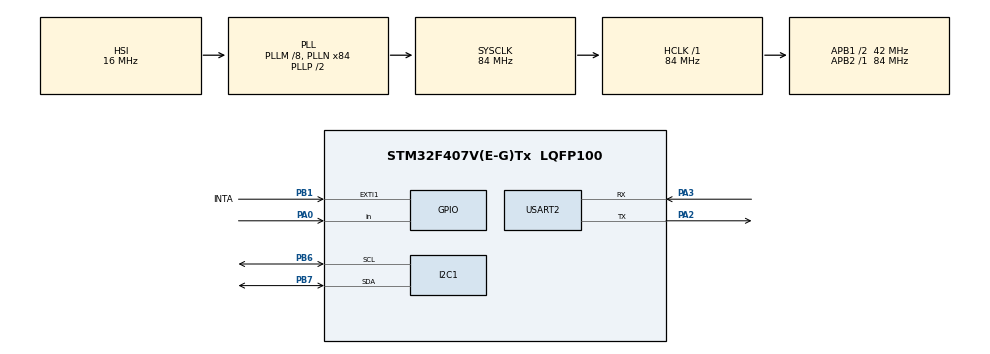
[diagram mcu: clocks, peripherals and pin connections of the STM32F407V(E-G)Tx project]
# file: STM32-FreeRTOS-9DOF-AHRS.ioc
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Dma.I2C1_RX.0.Direction=DMA_PERIPH_TO_MEMORY
Dma.I2C1_RX.0.FIFOMode=DMA_FIFOMODE_DISABLE
Dma.I2C1_RX.0.Instance=DMA1_Stream0
Dma.I2C1_RX.0.MemDataAlignment=DMA_MDATAALIGN_BYTE
Dma.I2C1_RX.0.MemInc=DMA_MINC_ENABLE
Dma.I2C1_RX.0.Mode=DMA_NORMAL
Dma.I2C1_RX.0.PeriphDataAlignment=DMA_PDATAALIGN_BYTE
Dma.I2C1_RX.0.PeriphInc=DMA_PINC_DISABLE
Dma.I2C1_RX.0.Priority=DMA_PRIORITY_LOW
Dma.Request0=I2C1_RX
Dma.Request1=USART2_TX
Dma.USART2_TX.1.Direction=DMA_MEMORY_TO_PERIPH
Dma.USART2_TX.1.FIFOMode=DMA_FIFOMODE_DISABLE
Dma.USART2_TX.1.Instance=DMA1_Stream6
Dma.USART2_TX.1.MemDataAlignment=DMA_MDATAALIGN_BYTE
Dma.USART2_TX.1.MemInc=DMA_MINC_ENABLE
Dma.USART2_TX.1.Mode=DMA_NORMAL
Dma.USART2_TX.1.PeriphDataAlignment=DMA_PDATAALIGN_BYTE
Dma.USART2_TX.1.PeriphInc=DMA_PINC_DISABLE
Dma.USART2_TX.1.Priority=DMA_PRIORITY_LOW
FREERTOS.Tasks01=defaultTask,24,128,StartDefaultTask,Default,NULL,Dynamic,NULL,NULL
FREERTOS.configCHECK_FOR_STACK_OVERFLOW=2
FREERTOS.configENABLE_FPU=1
FREERTOS.configUSE_NEWLIB_REENTRANT=1
I2C1.I2C_Mode=I2C_Fast
IWDG.Prescaler=IWDG_PRESCALER_32
IWDG.Reload=1999
Mcu.Family=STM32F4
Mcu.Name=STM32F407V(E-G)Tx
Mcu.Package=LQFP100
NVIC.DMA1_Stream0_IRQn=true\:5\:0\:false\:false\:true\:true\:false\:true\:true
NVIC.DMA1_Stream6_IRQn=true\:5\:0\:false\:false\:true\:true\:false\:true\:true
NVIC.EXTI1_IRQn=true\:5\:0\:false\:false\:true\:true\:true\:true\:true
NVIC.I2C1_ER_IRQn=true\:5\:0\:false\:false\:true\:true\:true\:true\:true
NVIC.I2C1_EV_IRQn=true\:5\:0\:false\:false\:true\:true\:true\:true\:true
NVIC.PriorityGroup=NVIC_PRIORITYGROUP_4
NVIC.TIM6_DAC_IRQn=true\:15\:0\:false\:false\:true\:false\:false\:true\:true
NVIC.TimeBase=TIM6_DAC_IRQn
NVIC.TimeBaseIP=TIM6
NVIC.USART2_IRQn=true\:5\:0\:false\:false\:true\:true\:true\:true\:true
PA0-WKUP.Signal=GPIO_Input
PA2.Mode=Asynchronous
PA2.Signal=USART2_TX
PA3.Mode=Asynchronous
PA3.Signal=USART2_RX
PB1.GPIO_Label=INTA
PB1.GPIO_PuPd=GPIO_PULLDOWN
PB1.Signal=GPXTI1
PB6.Mode=I2C
PB6.Signal=I2C1_SCL
PB7.Mode=I2C
PB7.Signal=I2C1_SDA
ProjectManager.HeapSize=0x200
ProjectManager.StackSize=0x400
ProjectManager.TargetToolchain=STM32CubeIDE
RCC.48MHZClocksFreq_Value=42000000
RCC.AHBFreq_Value=84000000
RCC.APB1CLKDivider=RCC_HCLK_DIV2
RCC.APB1Freq_Value=42000000
RCC.APB1TimFreq_Value=84000000
RCC.APB2Freq_Value=84000000
RCC.APB2TimFreq_Value=84000000
RCC.CortexFreq_Value=84000000
RCC.HCLKFreq_Value=84000000
RCC.HSE_VALUE=25000000
RCC.HSI_VALUE=16000000
RCC.LSE_VALUE=32768
RCC.PLLM=8
RCC.PLLN=84
RCC.SYSCLKFreq_VALUE=84000000
RCC.SYSCLKSource=RCC_SYSCLKSOURCE_PLLCLK
RCC.VCOOutputFreq_Value=168000000
TIM2.Prescaler=83
USART2.VirtualMode=VM_ASYNC
VP_FREERTOS_VS_CMSIS_V2.Mode=CMSIS_V2
VP_IWDG_VS_IWDG.Mode=IWDG_Activate
VP_SYS_VS_tim6.Mode=TIM6
VP_TIM2_VS_ClockSourceINT.Mode=Internal
board=custom

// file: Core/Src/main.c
/* USER CODE BEGIN Header */
/**
  ******************************************************************************
  * @file           : main.c
  * @brief          : Main program body
  ******************************************************************************
  * @attention
  *
  * Copyright (c) 2026 STMicroelectronics.
  * All rights reserved.
  *
  * This software is licensed under terms that can be found in the LICENSE file
  * in the root directory of this software component.
  * If no LICENSE file comes with this software, it is provided AS-IS.
  *
  ******************************************************************************
  */
/* USER CODE END Header */
#include "main.h"
#include "dma.h"
#include "i2c.h"
#include "iwdg.h"
#include "tim.h"
#include "usart.h"
#include "gpio.h"

/* USER CODE BEGIN Includes */
#include "stm32f4xx_hal.h"
#include "mpu6050.h"
#include "qmc5883p.h"
#include "FreeRTOS.h"
#include "task.h"
#include <stdio.h>
#ifdef USE_SEGGER_SYSVIEW
  #include "SEGGER_SYSVIEW.h"
#endif

/* USER CODE END Includes */

/* USER CODE BEGIN PD */
#define ACCEL_FLASH_SECTOR				FLASH_SECTOR_11
#define MAG_FLASH_SECTOR				FLASH_SECTOR_10

#define FLASH_SECTOR_11_ADDRESS			0x080E0000
#define FLASH_SECTOR_10_ADDRESS			0x080C0000

#define ACCEL_FLASH_SECTOR_ADDRESS		FLASH_SECTOR_11_ADDRESS
#define MAG_FLASH_SECTOR_ADDRESS		FLASH_SECTOR_10_ADDRESS
/* USER CODE END PD */

/* USER CODE BEGIN PV */
MPU6050_HandleTypeDef hmpu;
QMC5883P_HandleTypeDef hqmc;
/* USER CODE END PV */

void SystemClock_Config(void);
void MX_FREERTOS_Init(void);
/* USER CODE BEGIN PFP */
void I2C_Bus_Recovery(GPIO_TypeDef *sclPort, uint16_t sclPin,
                       GPIO_TypeDef *sdaPort, uint16_t sdaPin);
void MPU6050_Print_Wrapper(const char* text);
void MPU6050_Button_Wait_Wrapper(void);

/* USER CODE END PFP */

int main(void)
{

  /* MCU Configuration--------------------------------------------------------*/

  /* Reset of all peripherals, Initializes the Flash interface and the Systick. */
  HAL_Init();

  /* Configure the system clock */
  SystemClock_Config();

  /* Initialize all configured peripherals */
  MX_GPIO_Init();
  MX_DMA_Init();
  MX_USART2_UART_Init();
  MX_TIM2_Init();
  /* USER CODE BEGIN 2 */
  __HAL_DBGMCU_FREEZE_IWDG();
  __HAL_DBGMCU_FREEZE_TIM2();

  I2C_Bus_Recovery(GPIOB, GPIO_PIN_6, GPIOB, GPIO_PIN_7);
  MX_I2C1_Init();

  MPU6050_Set_Default(&hmpu);
  hmpu.hi2c = &hi2c1;

  if (MPU6050_Init(&hmpu) == HAL_OK) {
	  printf("[OK] MPU6050 initialized successfully!\r\n");
  } else {
      printf("[ERROR] Failed to initialize MPU6050\r\n");
      Error_Handler();
  }

  if (MPU6050_I2C_Bypass_Enable(&hmpu) == HAL_OK) {
  	  printf("[OK] MPU6050 I2C bypass enabled!\r\n");
  } else {
	  printf("[ERROR] Failed to enable MPU6050 I2C bypass!\r\n");
	  Error_Handler();
  }

  if (MPU6050_DRDY_INT_Enable(&hmpu) == HAL_OK) {
	  printf("[OK] MPU6050 DRDY interrupt enabled!\r\n");
  } else {
	  printf("[ERROR] Failed to enable MPU6050 DRDY interrupt!\r\n");
	  Error_Handler();
  }

  if (MPU6050_Gyro_Calibrate(&hmpu) == HAL_OK) {
      printf("[OK] Gyroscope calibrated succesfully!\r\n");
  } else {
      printf("[ERROR] Failed to calibrate gyroscope!\r\n");
      Error_Handler();
  }

  if (LoadAccelCalibrationFromFlash(&hmpu,ACCEL_FLASH_SECTOR_ADDRESS) == HAL_OK) {
	  printf("[OK] Accelerometer calibration loaded successfully!\r\n");
  }else{
	  printf("[ERROR] Failed to load accelerometer calibration! \r\n");
	  if(MPU6050_Accel_Calibrate_6pts(&hmpu,MPU6050_Button_Wait_Wrapper,MPU6050_Print_Wrapper) == HAL_OK){
		  printf("[OK] Accelerometer calibrated succesfully!\r\n");
		  if(SaveAccelCalibrationToFlash(&hmpu, ACCEL_FLASH_SECTOR, ACCEL_FLASH_SECTOR_ADDRESS) == HAL_OK){
			  printf("[OK] Accelerometer calibration saved to flash successfully!\r\n");
		  }
		  else{
			  printf("[ERROR] Failed to save accelerometer calibration to flash!\r\n");
		  }
	  }
	  else{
		  printf("[ERROR] Failed to calibrate accelerometer!\r\n");
	  }
  }

  /* A button can be added or the this block can be uncommented to calibrate accelerometer */
//  if(MPU6050_Accel_Calibrate_6pts(&hmpu,MPU6050_Button_Wait_Wrapper,MPU6050_Print_Wrapper) == HAL_OK){
//  	printf("[OK] Accelerometer calibrated succesfully!\r\n");
//  	if(SaveAccelCalibrationToFlash(&hmpu, ACCEL_FLASH_SECTOR, ACCEL_FLASH_SECTOR_ADDRESS) == HAL_OK){
//  		printf("[OK] Accelerometer calibration saved to flash successfully!\r\n");
//  	}
//  	else{
//  		printf("[ERROR] Failed to save accelerometer calibration to flash!\r\n");
//  	}
//  }
//  else{
//  	printf("[ERROR] Failed to calibrate accelerometer!\r\n");
//  }

  QMC5883P_Set_Default(&hqmc);
  hqmc.hi2c = &hi2c1;
  if(QMC5883P_Init(&hqmc) == HAL_OK){
	  printf("[OK] Magnetometer initialized successfully!\r\n");

  }
  else{
	   printf("[ERROR] Failed to initialize magnetometer!\r\n");
	   Error_Handler();
  }

  if (LoadMagCalibrationFromFlash(&hqmc,MAG_FLASH_SECTOR_ADDRESS) == HAL_OK) {

  	  printf("[OK] Magnetometer calibration loaded successfully!\r\n");

    }else{
  	  printf("[ERROR] Failed to load magnetometer calibration! \r\n");
  	  printf("Calibration started 50 sec!\r\n");
  	  if(QMC5883P_Calibrate(&hqmc, 50000) == HAL_OK){
  		  printf("[OK] Magnetometer calibrated succesfully!\r\n");
  		  if(SaveMagCalibrationToFlash(&hqmc, MAG_FLASH_SECTOR, MAG_FLASH_SECTOR_ADDRESS) == HAL_OK){
  			  printf("[OK] Magnetometer calibration saved to flash successfully!\r\n");
  		  }
  		  else{
  			  printf("[ERROR] Failed to save magnetometer calibration to flash!\r\n");
  		  }
  	  } else{

  		  printf("[ERROR] Failed to calibrate magnetometer!\r\n");
  		  Error_Handler();
  	  }
    }

  /* A button can be added or the this block can be uncommented to calibrate magnetometer */
//  printf("Calibration started 50 sec!\r\n");
//  if(QMC5883P_Calibrate(&hqmc, 50000) == HAL_OK){
//	  printf("[OK] Magnetometer calibrated succesfully!\r\n");
//	  if(SaveMagCalibrationToFlash(&hqmc, MAG_FLASH_SECTOR, MAG_FLASH_SECTOR_ADDRESS) == HAL_OK){
//		  printf("[OK] Magnetometer calibration saved to flash successfully!\r\n");
//	  }
//	  else{
//		  printf("[ERROR] Failed to save magnetometer calibration to flash!\r\n");
//	  }
//  } else{
//
//	printf("[ERROR] Failed to calibrate magnetometer!\r\n");
//	Error_Handler();;
//  }

#ifdef USE_SEGGER_SYSVIEW
  SEGGER_SYSVIEW_Conf();
  vSetVarulMaxPRIGROUPValue();
  SEGGER_SYSVIEW_Start();
#endif

  HAL_TIM_Base_Start(&htim2);

  MX_IWDG_Init();

  /* USER CODE END 2 */

  /* Init scheduler */
  MX_FREERTOS_Init();

  /* Start scheduler */
  vTaskStartScheduler();

  /* We should never get here as control is now taken by the scheduler */

  /* Infinite loop */
  while (1)
  {

  }
}

void SystemClock_Config(void)
{
  RCC_OscInitTypeDef RCC_OscInitStruct = {0};
  RCC_ClkInitTypeDef RCC_ClkInitStruct = {0};

  /** Configure the main internal regulator output voltage
  */
  __HAL_RCC_PWR_CLK_ENABLE();
  __HAL_PWR_VOLTAGESCALING_CONFIG(PWR_REGULATOR_VOLTAGE_SCALE1);

  /** Initializes the RCC Oscillators according to the specified parameters
  * in the RCC_OscInitTypeDef structure.
  */
  RCC_OscInitStruct.OscillatorType = RCC_OSCILLATORTYPE_HSI|RCC_OSCILLATORTYPE_LSI;
  RCC_OscInitStruct.HSIState = RCC_HSI_ON;
  RCC_OscInitStruct.HSICalibrationValue = RCC_HSICALIBRATION_DEFAULT;
  RCC_OscInitStruct.LSIState = RCC_LSI_ON;
  RCC_OscInitStruct.PLL.PLLState = RCC_PLL_ON;
  RCC_OscInitStruct.PLL.PLLSource = RCC_PLLSOURCE_HSI;
  RCC_OscInitStruct.PLL.PLLM = 8;
  RCC_OscInitStruct.PLL.PLLN = 84;
  RCC_OscInitStruct.PLL.PLLP = RCC_PLLP_DIV2;
  RCC_OscInitStruct.PLL.PLLQ = 4;
  if (HAL_RCC_OscConfig(&RCC_OscInitStruct) != HAL_OK)
  {
    Error_Handler();
  }

  /** Initializes the CPU, AHB and APB buses clocks
  */
  RCC_ClkInitStruct.ClockType = RCC_CLOCKTYPE_HCLK|RCC_CLOCKTYPE_SYSCLK
                              |RCC_CLOCKTYPE_PCLK1|RCC_CLOCKTYPE_PCLK2;
  RCC_ClkInitStruct.SYSCLKSource = RCC_SYSCLKSOURCE_PLLCLK;
  RCC_ClkInitStruct.AHBCLKDivider = RCC_SYSCLK_DIV1;
  RCC_ClkInitStruct.APB1CLKDivider = RCC_HCLK_DIV2;
  RCC_ClkInitStruct.APB2CLKDivider = RCC_HCLK_DIV1;

  if (HAL_RCC_ClockConfig(&RCC_ClkInitStruct, FLASH_LATENCY_2) != HAL_OK)
  {
    Error_Handler();
  }
}

/* USER CODE BEGIN 4 */
int _write(int file, char *ptr, int len) {
    HAL_UART_Transmit(&huart2, (uint8_t *)ptr, len, HAL_MAX_DELAY);
    return len;
}

static void GPIO_Clock_Enable(GPIO_TypeDef *port)
{
    if (port == GPIOA)      __HAL_RCC_GPIOA_CLK_ENABLE();
    else if (port == GPIOB) __HAL_RCC_GPIOB_CLK_ENABLE();
    else if (port == GPIOC) __HAL_RCC_GPIOC_CLK_ENABLE();
    else if (port == GPIOD) __HAL_RCC_GPIOD_CLK_ENABLE();

}
void I2C_Bus_Recovery(GPIO_TypeDef *sclPort, uint16_t sclPin,
                       GPIO_TypeDef *sdaPort, uint16_t sdaPin){

	GPIO_Clock_Enable(sdaPort);
	GPIO_Clock_Enable(sclPort);

    GPIO_InitTypeDef gpio = {0};

    gpio.Mode  = GPIO_MODE_OUTPUT_OD;
    gpio.Pull  = GPIO_PULLUP;
    gpio.Speed = GPIO_SPEED_FREQ_LOW;

    gpio.Pin = sclPin; HAL_GPIO_Init(sclPort, &gpio);
    gpio.Pin = sdaPin; HAL_GPIO_Init(sdaPort, &gpio);

    HAL_GPIO_WritePin(sdaPort, sdaPin, GPIO_PIN_SET);
    HAL_GPIO_WritePin(sclPort, sclPin, GPIO_PIN_SET);
    HAL_Delay(1);

    for (int i = 0; i < 9 && HAL_GPIO_ReadPin(sdaPort, sdaPin) == GPIO_PIN_RESET; i++)
    {
        HAL_GPIO_WritePin(sclPort, sclPin, GPIO_PIN_RESET);
        HAL_Delay(1);
        HAL_GPIO_WritePin(sclPort, sclPin, GPIO_PIN_SET);
        HAL_Delay(1);
    }

    HAL_GPIO_WritePin(sdaPort, sdaPin, GPIO_PIN_RESET);
    HAL_Delay(1);
    HAL_GPIO_WritePin(sclPort, sclPin, GPIO_PIN_SET);
    HAL_Delay(1);
    HAL_GPIO_WritePin(sdaPort, sdaPin, GPIO_PIN_SET);
    HAL_Delay(1);

}

void MPU6050_Print_Wrapper(const char* text) {
    printf("%s", text);
}

void MPU6050_Button_Wait_Wrapper(void) {
    while (HAL_GPIO_ReadPin(GPIOA, GPIO_PIN_0) == GPIO_PIN_RESET) { }
    HAL_Delay(50);
    while (HAL_GPIO_ReadPin(GPIOA, GPIO_PIN_0) == GPIO_PIN_SET) { }
    HAL_Delay(50);
}
/* USER CODE END 4 */

void HAL_TIM_PeriodElapsedCallback(TIM_HandleTypeDef *htim)
{
  if (htim->Instance == TIM6)
  {
    HAL_IncTick();
  }
}

void Error_Handler(void)
{
  /* USER CODE BEGIN Error_Handler_Debug */
  /* User can add his own implementation to report the HAL error return state */

  HAL_Delay(100);

  __disable_irq();
  NVIC_SystemReset();
  while (1)
  {
  }
  /* USER CODE END Error_Handler_Debug */
}

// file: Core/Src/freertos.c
/* USER CODE BEGIN Header */
/**
  ******************************************************************************
  * File Name          : freertos.c
  * Description        : Code for freertos applications
  ******************************************************************************
  * @attention
  *
  * Copyright (c) 2026 STMicroelectronics.
  * All rights reserved.
  *
  * This software is licensed under terms that can be found in the LICENSE file
  * in the root directory of this software component.
  * If no LICENSE file comes with this software, it is provided AS-IS.
  *
  ******************************************************************************
  */
/* USER CODE END Header */

#include "FreeRTOS.h"
#include "task.h"
#include "main.h"

/* USER CODE BEGIN Includes */
#include "madgwick.h"
#include "mpu6050.h"
#include "qmc5883p.h"
#include "iwdg.h"
#include "queue.h"
#include "event_groups.h"
#include <stdint.h>
#include <stdio.h>
#include <math.h>
/* USER CODE END Includes */

/* USER CODE BEGIN PTD */

/**
 * @brief Structure to hold converted IMU data
 */
typedef struct {
    float AccelXYZ_g[3];
    float GyroXYZ_radps[3];
    float temp;
    uint32_t timestamp_us;
} IMU_Data_Batch_t;

/**
 * @brief Structure to hold magnetic sensor data
 */
typedef struct {
    float MagXYZ_Gauss[3];
    uint32_t timestamp_us;
} Mag_Data_Batch_t;

/**
 * @brief Structure to hold Quaternion representation of orientation
 */
typedef struct {
    float q0;
    float q1;
    float q2;
    float q3;
} Quaternion_t;

/**
 * @brief Structure to hold Euler angle representation of orientation
 */
typedef struct {
    float roll_deg;
    float pitch_deg;
    float yaw_deg;
} EulerAngles_t;

/**
 * @brief Master telemetry structure combining all sensor fusions
 */
typedef struct {
    IMU_Data_Batch_t    imu_data_batch;
    Mag_Data_Batch_t    mag_data_batch;
    EulerAngles_t       EulerAngles;
    Quaternion_t        Quaternion;
} Telemetry_Data_Batch_t;

/* USER CODE END PTD */

/* USER CODE BEGIN PD */

/* Task Notification Bits for IMU Task */
#define IMU_EXTI_READY_BIT          (1 << 0)
#define IMU_DMA_CMPLT_BIT           (1 << 1)
#define MAG_DMA_CMPLT_BIT           (1 << 2)

/* Watchdog Event Group Bits */
#define IMU_TASK_ALIVE_BIT          (1 << 0)
#define AHRS_TASK_ALIVE_BIT         (1 << 1)
#define TELEMETRY_TASK_ALIVE_BIT    (1 << 2)

#define ALL_TASKS_ALIVE_MASK        (IMU_TASK_ALIVE_BIT | AHRS_TASK_ALIVE_BIT | TELEMETRY_TASK_ALIVE_BIT)

/* USER CODE END PD */

/* USER CODE BEGIN PM */
#ifndef M_PI
#define M_PI 3.14159265358979323846f
#endif
#define DEG_TO_RAD                  (M_PI / 180.0f)
#define G_TO_MPS2                   9.80665f

#define CURRENT_I2C_DEV_IMU         0
#define CURRENT_I2C_DEV_MAG         1

#define BETA_9DOF                   0.041f
#define BETA_6DOF 					0.15f

#define EXPECTED_MAG_NORM    		0.47f 	// Ankara/Turkiye
#define MAG_TOLERANCE        		0.15f
#define MAG_VALID_DEBOUNCE_COUNT   	20
#define MAG_TRANSITION_TIME_S      	1.5f
/* USER CODE END PM */

/* USER CODE BEGIN Variables */

/* External Handlers */
extern TIM_HandleTypeDef htim2;
extern MPU6050_HandleTypeDef hmpu;
extern QMC5883P_HandleTypeDef hqmc;
extern UART_HandleTypeDef huart2;

/* FreeRTOS Handles */
EventGroupHandle_t xWatchdogEventGroup;

TaskHandle_t hahrs_task;
TaskHandle_t himu_task;
TaskHandle_t hmonitor_task;
TaskHandle_t htelemetry_task;

QueueHandle_t xIMUQueue;
QueueHandle_t xMagQueue;
QueueHandle_t xTelemetryQueue;

/* State Variables */
static volatile uint8_t current_i2c_device = 0;
static volatile uint32_t isr_imu_timestamp_us = 0;

/* USER CODE END Variables */

/* USER CODE BEGIN FunctionPrototypes */
void vAHRS_Task(void *pvParameters);
void vIMU_Task(void *pvParameters);
void vTelemetry_Task(void *pvParameters);
void vMonitor_Task(void *pvParameters);

uint32_t Get_us(TIM_HandleTypeDef *htim);
/* USER CODE END FunctionPrototypes */

void MX_FREERTOS_Init(void); /* (MISRA C 2004 rule 8.1) */

/* Hook prototypes */
void vApplicationStackOverflowHook(xTaskHandle xTask, signed char *pcTaskName);

/* USER CODE BEGIN 4 */
void vApplicationStackOverflowHook(xTaskHandle xTask, signed char *pcTaskName)
{
	__disable_irq();
	printf("[FATAL ERROR] STACK OVERFLOW DETECTED IN TASK: %s\r\n", pcTaskName);
	NVIC_SystemReset();
}
/* USER CODE END 4 */

void MX_FREERTOS_Init(void) {

  /* USER CODE BEGIN RTOS_QUEUES */
    xIMUQueue = xQueueCreate(1, sizeof(IMU_Data_Batch_t));
    xMagQueue = xQueueCreate(1, sizeof(Mag_Data_Batch_t));
    xTelemetryQueue = xQueueCreate(1, sizeof(Telemetry_Data_Batch_t));

    if (xIMUQueue == NULL || xMagQueue == NULL || xTelemetryQueue == NULL) {
        Error_Handler();
    }
  /* USER CODE END RTOS_QUEUES */

  /* Create the thread(s) */

  /* USER CODE BEGIN RTOS_THREADS */

    if (xTaskCreate(vMonitor_Task, "Monitor_task", 128, NULL, 5, &hmonitor_task) != pdPASS) {
        Error_Handler();
    }
    if (xTaskCreate(vAHRS_Task, "AHRS_task", 1024, NULL, 4, &hahrs_task) != pdPASS) {
        Error_Handler();
    }
    if (xTaskCreate(vIMU_Task, "IMU_task", 256, NULL, 3, &himu_task) != pdPASS) {
        Error_Handler();
    }
    if (xTaskCreate(vTelemetry_Task, "Telemetry_task", 512, NULL, 1, &htelemetry_task) != pdPASS) {
        Error_Handler();
    }

  /* USER CODE END RTOS_THREADS */

  /* USER CODE BEGIN RTOS_EVENTS */

    xWatchdogEventGroup = xEventGroupCreate();
    if (xWatchdogEventGroup == NULL) {
        Error_Handler();
    }

  /* USER CODE END RTOS_EVENTS */

}

/* USER CODE BEGIN Application */

/**
 * @brief Attitude and Heading Reference System (AHRS) Task
 *        Processes raw sensor data through the Madgwick filter to obtain orientation.
 */
void vAHRS_Task(void *pvParameters) {

    MadgwickFilter_t filter = {0};
    IMU_Data_Batch_t imu_data = {0};
    Mag_Data_Batch_t mag_data = {0};
    EulerAngles_t euler_angles = {0};
    Telemetry_Data_Batch_t telemetry_data = {0};

    float dt_imu;
    uint32_t last_imu_timestamp_us = Get_us(&htim2);
    uint32_t last_mag_timestamp_us = Get_us(&htim2);
    uint8_t mag_error_flag = 1;

    uint16_t mag_valid_streak   = 0;
    uint8_t  prev_mag_error_flag = 1;
    float    mag_transition_elapsed = 0.0f;

    MadgwickInit(&filter, BETA_6DOF);

    for (;;) {

        if (xQueueReceive(xIMUQueue, &imu_data, portMAX_DELAY) == pdTRUE) {

            uint32_t dt_imu_us = imu_data.timestamp_us - last_imu_timestamp_us;
            dt_imu = (float)dt_imu_us / 1000000.0f;
            last_imu_timestamp_us = imu_data.timestamp_us;

            if (dt_imu > 0.05f || dt_imu <= 0.0f) {
                dt_imu = 0.002f; /* Fallback to 500Hz nominal */
            }

            if (xQueueReceive(xMagQueue, &mag_data, 0) == pdTRUE) {

                last_mag_timestamp_us = mag_data.timestamp_us;
                mag_error_flag = 0;

                float mag_norm = sqrtf((mag_data.MagXYZ_Gauss[0] * mag_data.MagXYZ_Gauss[0]) +
                                       (mag_data.MagXYZ_Gauss[1] * mag_data.MagXYZ_Gauss[1]) +
                                       (mag_data.MagXYZ_Gauss[2] * mag_data.MagXYZ_Gauss[2]));
                uint8_t norm_ok = (mag_norm <= (EXPECTED_MAG_NORM + MAG_TOLERANCE)) &&
                                  (mag_norm >= (EXPECTED_MAG_NORM - MAG_TOLERANCE));
                if (norm_ok) {
                	if (mag_valid_streak < 0xFFFF) mag_valid_streak++;
                } else {
                	mag_valid_streak = 0;
                }

                mag_error_flag = (mag_valid_streak >= MAG_VALID_DEBOUNCE_COUNT) ? 0 : 1;

            } else {
                /* Check if Magnetometer data has timed out (Timeout: 0.5s) */
                uint32_t time_since_last_mag_us = Get_us(&htim2) - last_mag_timestamp_us;
                if (time_since_last_mag_us > 500000) {
                    mag_error_flag = 1;
                    mag_valid_streak = 0;
                }
            }

            if (!mag_error_flag) {
            	if(prev_mag_error_flag){	//	6DOF->9DOF
            		mag_transition_elapsed = 0.0f;
            	}
            	if (mag_transition_elapsed < MAG_TRANSITION_TIME_S) {
            		mag_transition_elapsed += dt_imu;
            	}

            	float ramp = mag_transition_elapsed / MAG_TRANSITION_TIME_S;
            	if (ramp > 1.0f) ramp = 1.0f;

            	filter.beta = ramp * BETA_9DOF;   /* 0 -> BETA_9DOF */
                MadgwickAHRSUpdate(&filter, imu_data.GyroXYZ_radps, imu_data.AccelXYZ_g, mag_data.MagXYZ_Gauss, dt_imu);
            } else {
                /* Fallback to 6-DOF IMU only if magnetometer fails/timeouts */
            	filter.beta = BETA_6DOF;
                MadgwickAHRSUpdateIMU(&filter, imu_data.GyroXYZ_radps, imu_data.AccelXYZ_g, dt_imu);
            }
            prev_mag_error_flag = mag_error_flag;

            /* Prepare telemetry packet */
            MadgwickGetEulerAngles(&filter, &euler_angles.roll_deg, &euler_angles.pitch_deg, &euler_angles.yaw_deg);
            telemetry_data.EulerAngles = euler_angles;
            telemetry_data.EulerAngles.pitch_deg = -telemetry_data.EulerAngles.pitch_deg; /* Pitch axis alignment */
            telemetry_data.imu_data_batch = imu_data;
            telemetry_data.mag_data_batch = mag_data;
            MadgwickGetQuaternions(&filter, &telemetry_data.Quaternion.q0,
                                            &telemetry_data.Quaternion.q1,
                                            &telemetry_data.Quaternion.q2,
                                            &telemetry_data.Quaternion.q3);

            xQueueOverwrite(xTelemetryQueue, &telemetry_data);
        }

        /* Signal watchdog that AHRS task is alive */
        xEventGroupSetBits(xWatchdogEventGroup, AHRS_TASK_ALIVE_BIT);
    }
}

/**
 * @brief IMU Data Acquisition Task
 *
 */
void vIMU_Task(void *pvParameters) {

    IMU_Data_Batch_t imu_batch = {0};
    Mag_Data_Batch_t mag_batch = {0};
    uint8_t mag_counter = 0;
    uint32_t notificationVal = 0;

    static uint8_t rawIMUDatas[14];
    static uint8_t rawMagDatas[6];

    /* State Machine Flags */
    uint8_t i2c_dma_is_busy = 0, imu_is_pending = 0, mag_is_pending = 0;

    __HAL_GPIO_EXTI_CLEAR_IT(INTA_Pin);
    HAL_NVIC_EnableIRQ(INTA_EXTI_IRQn);
    MPU6050_Is_Data_Ready(&hmpu); /* Clear initial INT status flag */

    for (;;) {

        /* Wait for Task Notifications from EXTI or DMA callbacks */
        if (xTaskNotifyWait(0, 0xFFFFFFFF, &notificationVal, pdMS_TO_TICKS(100)) == pdTRUE) {

            /* Hardware Data Ready (EXTI Triggered) */
            if (notificationVal & IMU_EXTI_READY_BIT) {
                imu_is_pending = 1;
                /* Decimate Magnetometer readings (Read 1 Mag for every 3 IMU readings) */
                if (++mag_counter >= 3) {
					mag_batch.timestamp_us = isr_imu_timestamp_us;
					mag_is_pending = 1;
					mag_counter = 0;
                }
            }

            /* IMU DMA Read Completed */
            if (notificationVal & IMU_DMA_CMPLT_BIT) {
                i2c_dma_is_busy = 0;

                MPU6050_Parse(&hmpu, rawIMUDatas);
                MPU6050_Accel_raw_to_g(&hmpu);
                MPU6050_Gyro_raw_to_dps(&hmpu);

                for (uint8_t i = 0; i < 3; i++) {
                    imu_batch.AccelXYZ_g[i] = hmpu.Accel.axyz_g[i];
                    imu_batch.GyroXYZ_radps[i] = hmpu.Gyro.xyz_dps[i] * DEG_TO_RAD;
                }
                imu_batch.temp = hmpu.temp;

                imu_batch.timestamp_us = isr_imu_timestamp_us;
                xQueueOverwrite(xIMUQueue, &imu_batch);
            }

            /* Magnetometer DMA Read Completed */
            if (notificationVal & MAG_DMA_CMPLT_BIT) {
                i2c_dma_is_busy = 0;

                Mag_Parse(&hqmc, rawMagDatas);
                Mag_raw_to_gauss(&hqmc);

                /* Axis Alignment: Map QMC5883P physical axes to MPU6050 coordinate frame */
                mag_batch.MagXYZ_Gauss[0] = hqmc.Data.xyz_gauss[1];
                mag_batch.MagXYZ_Gauss[1] = -hqmc.Data.xyz_gauss[0];
                mag_batch.MagXYZ_Gauss[2] = hqmc.Data.xyz_gauss[2];

                /* Guard against all-zero faulty readings */
                if (!(mag_batch.MagXYZ_Gauss[0] == 0 && mag_batch.MagXYZ_Gauss[1] == 0 && mag_batch.MagXYZ_Gauss[2] == 0)) {
                    xQueueOverwrite(xMagQueue, &mag_batch);
                }
            }

            /* I2C Bus Management */
            if (i2c_dma_is_busy == 0) {
                if (imu_is_pending == 1) {
					current_i2c_device = CURRENT_I2C_DEV_IMU;
                    if(MPU6050_Read_raw_DMA(&hmpu, rawIMUDatas) == HAL_OK){
						i2c_dma_is_busy = 1;
						imu_is_pending = 0;
                    }
                    __HAL_DMA_DISABLE_IT(hmpu.hi2c->hdmarx, DMA_IT_HT);
                } else if (mag_is_pending == 1) {
					current_i2c_device = CURRENT_I2C_DEV_MAG;
                    if(Mag_Read_raw_DMA(&hqmc, rawMagDatas) == HAL_OK){
						i2c_dma_is_busy = 1;
						mag_is_pending = 0;
                    }
                    __HAL_DMA_DISABLE_IT(hqmc.hi2c->hdmarx, DMA_IT_HT);
                }
            }
        }

        else {
            HAL_I2C_DeInit(hmpu.hi2c);
            HAL_I2C_Init(hmpu.hi2c);
            i2c_dma_is_busy = 0;
        }

        /* Signal watchdog that IMU task is alive */
        xEventGroupSetBits(xWatchdogEventGroup, IMU_TASK_ALIVE_BIT);
    }
}

/**
 * @brief Telemetry Task
 *        Transmits formatted system state data via UART DMA at a fixed frequency.
 */
void vTelemetry_Task(void *pvParameters) {

    Telemetry_Data_Batch_t telemetry_data;
    static char tx_buffer[256];

    TickType_t xLastWakeTime = xTaskGetTickCount();
    const TickType_t xFrequency = pdMS_TO_TICKS(20); /* Fixed 50 Hz loop */

    for (;;) {

        if (xQueuePeek(xTelemetryQueue, &telemetry_data, 0) == pdTRUE) {

            /* Format Quaternion Data for 3D Viewer */
             uint8_t len = snprintf(tx_buffer, sizeof(tx_buffer),
             "%.6f,%.6f,%.6f,%.6f,%.2f,%.2f,%.2f,%.2f,%.2f,%.2f,%.2f,%.2f,%.2f,%.2f,%.2f,%.2f,%.2f\r\n",

			 telemetry_data.Quaternion.q0,
			 telemetry_data.Quaternion.q1,
			 telemetry_data.Quaternion.q2,
			 telemetry_data.Quaternion.q3,

             telemetry_data.EulerAngles.pitch_deg,
             telemetry_data.EulerAngles.roll_deg,
             telemetry_data.EulerAngles.yaw_deg,

             telemetry_data.imu_data_batch.AccelXYZ_g[0],
             telemetry_data.imu_data_batch.AccelXYZ_g[1],
             telemetry_data.imu_data_batch.AccelXYZ_g[2],

             telemetry_data.imu_data_batch.GyroXYZ_radps[0],
             telemetry_data.imu_data_batch.GyroXYZ_radps[1],
             telemetry_data.imu_data_batch.GyroXYZ_radps[2],

             telemetry_data.mag_data_batch.MagXYZ_Gauss[0],
             telemetry_data.mag_data_batch.MagXYZ_Gauss[1],
             telemetry_data.mag_data_batch.MagXYZ_Gauss[2],

			 telemetry_data.imu_data_batch.temp);

            /* Transmit via non-blocking DMA */
            HAL_UART_Transmit_DMA(&huart2, (uint8_t*)tx_buffer, len);
            __HAL_DMA_DISABLE_IT(huart2.hdmatx,DMA_IT_HT);

            /* Suspend task until DMA transmission completes */
            ulTaskNotifyTake(pdTRUE, portMAX_DELAY);
        }

        /* Signal watchdog that Telemetry task is alive */
        xEventGroupSetBits(xWatchdogEventGroup, TELEMETRY_TASK_ALIVE_BIT);

        /* Block to maintain precise 50Hz frequency */
        vTaskDelayUntil(&xLastWakeTime, xFrequency);
    }
}

/**
 * @brief Watchdog / System Monitor Task
 *        Monitors the alive flags of all critical system tasks and feeds the hardware IWDG.
 */
void vMonitor_Task(void *pvParameters) {
    uint32_t uxBits;
    const TickType_t xMaxExpectedDelay = pdMS_TO_TICKS(750); /* Global system timeout threshold */

    for (;;) {

        uxBits = xEventGroupWaitBits(
                    xWatchdogEventGroup,
                    ALL_TASKS_ALIVE_MASK,
                    pdTRUE,
                    pdTRUE,
                    xMaxExpectedDelay);

        if ((uxBits & ALL_TASKS_ALIVE_MASK) == ALL_TASKS_ALIVE_MASK) {

            HAL_IWDG_Refresh(&hiwdg);

        } else {
            /* Watchdog Failure Handling */
            HAL_UART_AbortTransmit(&huart2);

            if ((uxBits & IMU_TASK_ALIVE_BIT) == 0) {
                printf("[CRITICAL] IMU Task is locked!\r\n");
            }
            if ((uxBits & AHRS_TASK_ALIVE_BIT) == 0) {
                printf("[CRITICAL] AHRS Task is locked!\r\n");
            }
            if ((uxBits & TELEMETRY_TASK_ALIVE_BIT) == 0) {
                printf("[CRITICAL] Telemetry Task is locked!\r\n");
            }

            HAL_Delay(10);

        }
    }
}

/**
 * @brief Retrieves system microsecond timestamp from hardware timer
 */
uint32_t Get_us(TIM_HandleTypeDef *htim) {
    return __HAL_TIM_GET_COUNTER(htim);
}

/* -------------------------------------------------------------------------- */
/*                        		   ISR CALLBACKS                              */
/* -------------------------------------------------------------------------- */

/**
 * @brief EXTI Line Callback (Triggers when IMU DRDY pin goes high)
 */
void HAL_GPIO_EXTI_Callback(uint16_t GPIO_Pin) {
    if (xTaskGetSchedulerState() == taskSCHEDULER_NOT_STARTED) return;

    BaseType_t xHigherPriorityTaskWoken = pdFALSE;

    if (GPIO_Pin == INTA_Pin) {
        isr_imu_timestamp_us = Get_us(&htim2);
        xTaskNotifyFromISR(himu_task, IMU_EXTI_READY_BIT, eSetBits, &xHigherPriorityTaskWoken);
    }

    portYIELD_FROM_ISR(xHigherPriorityTaskWoken);
}

/**
 * @brief I2C Memory Rx Complete Callback (Triggers when DMA finishes I2C transfer)
 */
void HAL_I2C_MemRxCpltCallback(I2C_HandleTypeDef *hi2c) {
    if (xTaskGetSchedulerState() == taskSCHEDULER_NOT_STARTED) return;

    BaseType_t xHigherPriorityTaskWoken = pdFALSE;

    if (hi2c->Instance == I2C1) {
        if (current_i2c_device == CURRENT_I2C_DEV_IMU) {
            xTaskNotifyFromISR(himu_task, IMU_DMA_CMPLT_BIT, eSetBits, &xHigherPriorityTaskWoken);
        } else if (current_i2c_device == CURRENT_I2C_DEV_MAG) {
            xTaskNotifyFromISR(himu_task, MAG_DMA_CMPLT_BIT, eSetBits, &xHigherPriorityTaskWoken);
        }

        portYIELD_FROM_ISR(xHigherPriorityTaskWoken);
    }
}
/**
 * @brief UART Tx Complete Callback (Unblocks Telemetry task upon successful transmission)
 */
void HAL_UART_TxCpltCallback(UART_HandleTypeDef *huart) {
    if (xTaskGetSchedulerState() == taskSCHEDULER_NOT_STARTED) return;

    BaseType_t xHigherPriorityTaskWoken = pdFALSE;

    if (huart->Instance == USART2) {
        vTaskNotifyGiveFromISR(htelemetry_task, &xHigherPriorityTaskWoken);
        portYIELD_FROM_ISR(xHigherPriorityTaskWoken);
    }
}

/* USER CODE END Application */
